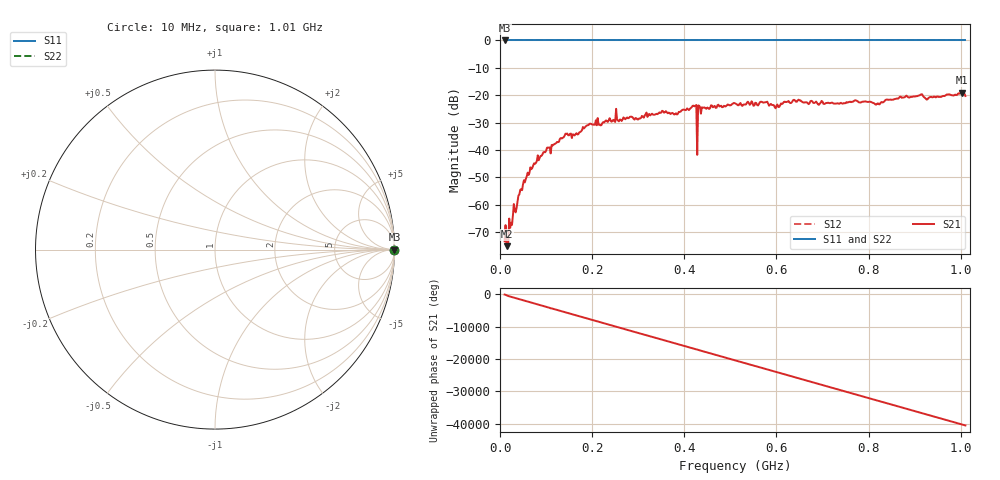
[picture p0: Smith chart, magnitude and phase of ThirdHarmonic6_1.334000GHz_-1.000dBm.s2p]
! 8/16/2025 2:56:14 PM
! C:\ANRITSUVNA\TEMP\TEMP.S2P
! CHANNEL.1
! TR.MEASUREMENT
! RAW.DATA
! RF.CORRECTION.OFF
! AVERAGING.OFF
! IF.BANDWIDTH: 5KHZ
! SWEEPTYPE:  FREQ.SWEEP(Linear)
! Reference Plane Port Info
! PORT:  PORT1  PORT2
! DISTANCE:  0  m  0  m
! TIME:  0  s  0  s
! PHASE.OFFSET:  0  deg.  0  deg.
! LOSS:  0  dB  0  dB
! REF.LOSS:  0  dB  0  dB
! REF.FREQ:  0  Hz  0  Hz
! Power Info
! POWER:  -20  dBm  -20  dBm
! EFF.POWER:  -20  dBm  -20  dBm
! SOURCE.ATTEN:  0  dB  0  dB
! TEST.ATTEN:  0  dB  0  dB
# GHZ S RI R 50.0
! FREQ.GHZ  S11RE  S11IM  S21RE  S21IM  S12RE  S12IM  S22RE  S22IM
!; PortSelection: Port_12
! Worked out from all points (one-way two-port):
!   501 points, 10 MHz to 1.01 GHz, reference 50 ohm
!   highest |S21| = -19.14 dB at 1.002 GHz (marker M1); lowest = -75.2 dB at 16 MHz (marker M2)
!   lowest |S11| = 0.0 dB at 10 MHz (marker M3)
!   |S11| at or under -10 dB: nowhere
!   |S22| runs from 0.0 to 0.0 dB; largest |S21 - S12| = 1.1
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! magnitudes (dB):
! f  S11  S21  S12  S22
! 10 MHz  0.0  -73.4  0.0  0.0
! 16 MHz  0.0  -75.2  0.0  0.0
! 18 MHz  0.0  -73.8  0.0  0.0
! 48 MHz  0.0  -54.7  0.0  0.0
! 78 MHz  0.0  -44.8  0.0  0.0
! 142 MHz  0.0  -34.1  0.0  0.0
! 178 MHz  0.0  -32.8  0.0  0.0
! 250 MHz  0.0  -29.8  0.0  0.0
! 344 MHz  0.0  -26.6  0.0  0.0
! 382 MHz  0.0  -26.6  0.0  0.0
! 422 MHz  0.0  -24.1  0.0  0.0
! 424 MHz  0.0  -23.9  0.0  0.0
! 432 MHz  0.0  -23.9  0.0  0.0
! 434 MHz  0.0  -24.3  0.0  0.0
! 510 MHz  0.0  -23.0  0.0  0.0
! 602 MHz  0.0  -23.4  0.0  0.0
! 622 MHz  0.0  -22.5  0.0  0.0
! 678 MHz  0.0  -22.3  0.0  0.0
! 820 MHz  0.0  -23.0  0.0  0.0
! 844 MHz  0.0  -21.6  0.0  0.0
! 1.002 GHz  0.0  -19.1  0.0  0.0
! 1.01 GHz  0.0  -20.3  0.0  0.0
